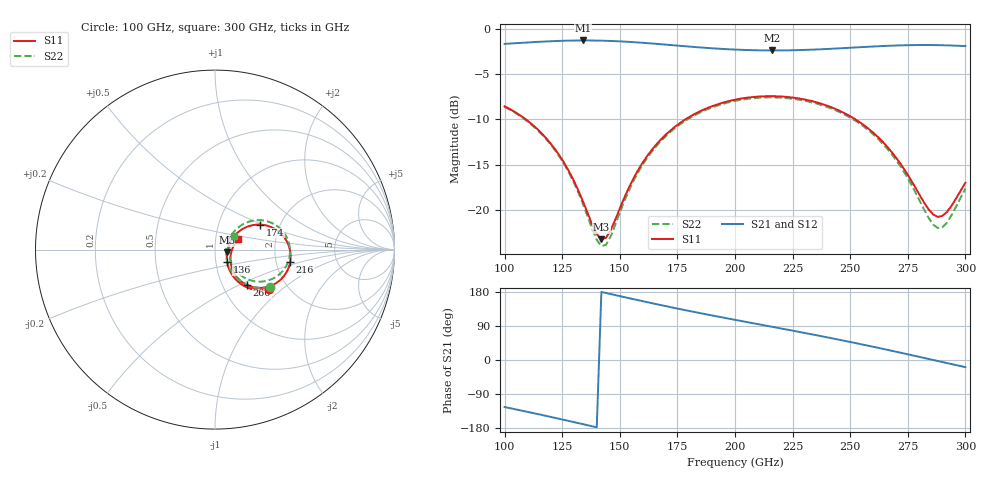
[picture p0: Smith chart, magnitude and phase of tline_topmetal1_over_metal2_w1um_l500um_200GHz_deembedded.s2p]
! Created with skrf 2.0.1 (http://scikit-rf.org).
# GHz S DB R 50.0
!freq dBS11 angS11 dBS21 angS21 dBS12 angS12 dBS22 angS22
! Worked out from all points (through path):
!   101 points, 100 GHz to 300 GHz, reference 50 ohm
!   highest |S21| = -1.29 dB at 134 GHz (marker M1); lowest = -2.4 dB at 216 GHz (marker M2)
!   group delay of S21, straight-line fit = 3.47 ps
!   lowest |S11| = -23.2 dB at 142 GHz (marker M3), VSWR 1.15, Z = 57.2 - j1.83 ohm
!   |S11| at or under -10 dB: 109.2 GHz to 178.5 GHz (69.29 GHz wide, 48.2 % of centre); 252.2 GHz to end of sweep
!   |S22| runs from -24.0 to -7.6 dB; largest |S21 - S12| = 1.5e-12
!   S11 on the Smith chart (normalised r, x): 100 GHz: 1.60, -0.82; 136 GHz: 1.13, -0.16; 174 GHz: 1.59, +0.48; 216 GHz: 2.39, -0.41; 260 GHz: 1.30, -0.55; 300 GHz: 1.29, +0.15
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100  -8.56 -36.5  -1.67 -124.2  -1.67 -124.2  -8.63 -33.9
110  -10.15 -45.8  -1.51 -136.9  -1.51 -136.9  -10.24 -43.1
120  -12.67 -53.5  -1.38 -150.2  -1.38 -150.2  -12.77 -50.8
128  -15.76 -55.7  -1.31 -161.1  -1.31 -161.1  -15.91 -53.3
134  -19.05 -50.3  -1.29 -169.3  -1.29 -169.3  -19.32 -48.4
136  -20.32 -45.3  -1.29 -172.1  -1.29 -172.1  -20.68 -43.6
142  -23.23 -13.3  -1.32 179.6  -1.32 179.6  -23.99 -10.0
146  -22.25 13.5  -1.35 174.1  -1.35 174.1  -22.94 19.4
158  -15.57 37.1  -1.52 157.8  -1.52 157.8  -15.82 43.7
168  -12.17 33.4  -1.71 144.7  -1.71 144.7  -12.35 39.8
174  -10.80 28.9  -1.84 137.1  -1.84 137.1  -10.96 35.3
186  -8.97 18.4  -2.08 122.4  -2.08 122.4  -9.11 25.0
200  -7.83 5.4  -2.30 106.0  -2.30 106.0  -7.96 12.2
216  -7.44 -9.6  -2.39 87.7  -2.39 87.7  -7.57 -2.5
234  -8.02 -26.3  -2.30 66.9  -2.30 66.9  -8.16 -19.0
248  -9.38 -38.8  -2.13 50.1  -2.13 50.1  -9.52 -31.5
260  -11.47 -47.8  -1.96 34.9  -1.96 34.9  -11.65 -40.9
268  -13.60 -51.3  -1.87 24.4  -1.87 24.4  -13.84 -44.8
284  -19.92 -31.6  -1.80 2.8  -1.80 2.8  -20.85 -25.9
288  -20.76 -14.3  -1.81 -2.6  -1.81 -2.6  -21.99 -6.3
292  -20.21 3.8  -1.83 -8.1  -1.83 -8.1  -21.39 15.0
300  -16.99 23.5  -1.91 -18.8  -1.91 -18.8  -17.65 36.7
